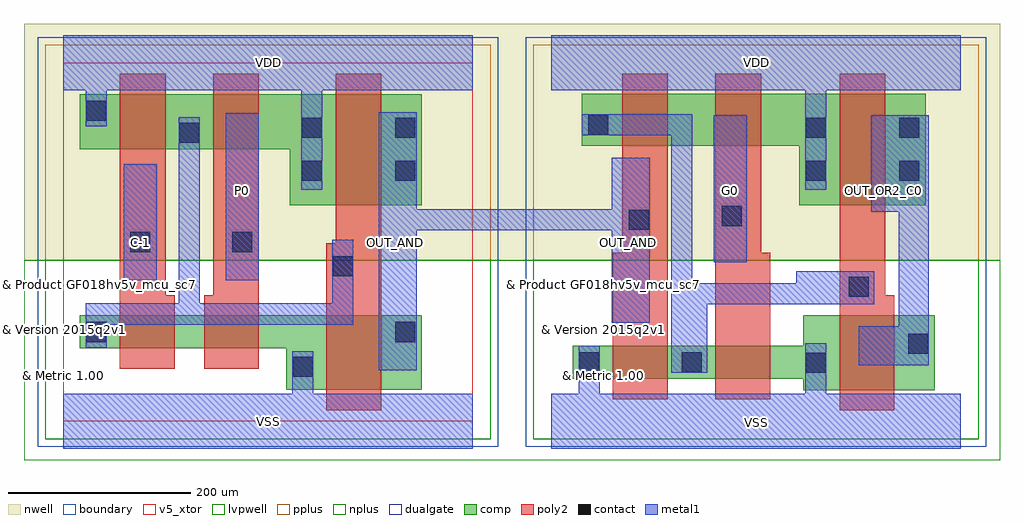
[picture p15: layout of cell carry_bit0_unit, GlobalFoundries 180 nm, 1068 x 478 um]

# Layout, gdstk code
import gdstk
lib = gdstk.Library(unit=1e-6, precision=1e-07)
def R(c, l, rs):  # rectangles x0, y0, x1, y1
    for r in rs: c.add(gdstk.rectangle(r[:2], r[2:], *l))
def P(c, l, *ps):  # polygons
    for p in ps: c.add(gdstk.Polygon(p, *l))
boundary = (0, 0)
nwell = (21, 0)
comp = (22, 0)
poly2 = (30, 0)
pplus = (31, 0)
nplus = (32, 0)
contact = (33, 0)
metal1 = (34, 0)
dualgate = (55, 0)
v5_xtor = (112, 1)
lvpwell = (204, 0)

carry_bit0_unit = lib.new_cell('carry_bit0_unit')
R(carry_bit0_unit, boundary, [(0,0,448,392), (0,0,448,392), (0,0,448,392)])
R(carry_bit0_unit, nwell, [(-43,176,491,435), (491,176,1025,435)])
P(carry_bit0_unit, comp, [(244,34.5),(244,79.5),(18,79.5),(18,116),(392,116),(392,34.5)],
  [(248,236),(248,297.5),(18,297.5),(18,357.5),(392,357.5),(392,236)],
  [(805.5,236),(805.5,301.5),(567.5,301.5),(567.5,358),(943.5,358),(943.5,236)],
  [(809.5,34),(809.5,46.5),(557.5,46.5),(557.5,82.5),(809.5,82.5),(809.5,116),(953.5,116),(953.5,34)])
P(carry_bit0_unit, poly2, [(849.5,12),(849.5,380),(899.5,380),(899.5,252.2),(899.5,138),(909.5,138),(909.5,12)],
  [(62,57.5),(62,380),(112,380),(112,138),(122,138),(122,57.5)],
  [(154,57.5),(154,138),(164,138),(164,380),(214,380),(214,57.5)],
  [(288,12),(288,194.5),(298,194.5),(298,380),(348,380),(348,12)],
  [(601.5,24),(601.5,184.5),(611.5,184.5),(611.5,380),(661.5,380),(661.5,24)],
  [(713.5,24),(713.5,380),(763.5,380),(763.5,184.5),(773.5,184.5),(773.5,24)])
R(carry_bit0_unit, pplus, [(-20,176,468,412), (514,176,1002,412)])
R(carry_bit0_unit, nplus, [(-20,-20,468,176), (514,-20,1002,176)])
R(carry_bit0_unit, contact, [(251,48.5,273,70.5), (812.5,53,834.5,75), (564.5,53.5,586.5,75.5), (676.5,53.5,698.5,75.5), (924.5,73.5,946.5,95.5), (25,86.5,47,108.5), (363,86.5,385,108.5), (859.5,136,881.5,158), (295,158.5,317,180.5), (73,185,95,207), (185,185,207,207), (618.5,209.5,640.5,231.5), (720.5,213.5,742.5,235.5), (261,263,283,285), (363,263,385,285), (812.5,263,834.5,285), (914.5,263,936.5,285), (127,304.5,149,326.5), (261,310,283,332), (363,310,385,332), (812.5,310,834.5,332), (914.5,310,936.5,332), (574.5,313.5,596.5,335.5), (25,328.5,47,350.5)])
R(carry_bit0_unit, metal1, [(345,55.5,387,338), (600,107.5,642,288), (66,154,102,281), (178,154,214,337), (712,174,748,334.5), (347.3,209,641.4,232.1)])
P(carry_bit0_unit, metal1, [(24.5,80.5),(24.5,129),(126.5,129),(126.5,332.5),(149.5,332.5),(149.5,129),(294.5,129),(294.5,198.5),(317.5,198.5),(317.5,105.5),(47.5,105.5),(47.5,80.5)],
  [(0,-30),(0,30),(250.5,30),(250.5,76.5),(273.5,76.5),(273.5,30),(448,30),(448,-30)],
  [(260.5,253),(260.5,362),(47.5,362),(47.5,322.5),(24.5,322.5),(24.5,362),(0,362),(0,422),(448,422),(448,362),(283.5,362),(283.5,253)],
  [(665,53),(665,313),(567.5,313),(567.5,336),(688,336),(688,151),(802,151),(802,164),(887.5,164),(887.5,128),(704.5,128),(704.5,53)],
  [(870.5,61),(870.5,104),(914,104),(914,229),(884,229),(884,334.5),(947,334.5),(947,61)],
  [(534,-30),(534,30),(564,30),(564,82.5),(587,82.5),(587,30),(812,30),(812,85),(835,85),(835,30),(982,30),(982,-30)],
  [(812,253),(812,362),(534,362),(534,422),(982,422),(982,362),(835,362),(835,253)])
R(carry_bit0_unit, dualgate, [(-28,-28,476,420), (506,-28,1010,420)])
R(carry_bit0_unit, v5_xtor, [(0,0,448,392), (0,0,448,392), (0,0,448,392)])
R(carry_bit0_unit, lvpwell, [(-43,-43,491,176), (491,-43,1025,176)])
carry_bit0_unit.add(gdstk.Label('VDD', (224,392), layer=34, texttype=10))
carry_bit0_unit.add(gdstk.Label('VSS', (224,0), layer=34, texttype=10))
carry_bit0_unit.add(gdstk.Label('OUT_AND', (364,196), layer=34, texttype=10))
carry_bit0_unit.add(gdstk.Label('C-1', (84,196), layer=34, texttype=10))
carry_bit0_unit.add(gdstk.Label('P0', (196,252), layer=34, texttype=10))
carry_bit0_unit.add(gdstk.Label('VDD', (758,392.5), layer=34, texttype=10))
carry_bit0_unit.add(gdstk.Label('VSS', (758,-1), layer=34, texttype=10))
carry_bit0_unit.add(gdstk.Label('OUT_OR2_C0', (898,252), layer=34, texttype=10))
carry_bit0_unit.add(gdstk.Label('OUT_AND', (618,196), layer=34, texttype=10))
carry_bit0_unit.add(gdstk.Label('G0', (730,252), layer=34, texttype=10))
carry_bit0_unit.add(gdstk.Label('& Vendor GLOBALFOUNDRIES', (0,200), layer=63, texttype=63))
carry_bit0_unit.add(gdstk.Label('& Product GF018hv5v_mcu_sc7', (0,150), layer=63, texttype=63))
carry_bit0_unit.add(gdstk.Label('& Version 2015q2v1', (0,100), layer=63, texttype=63))
carry_bit0_unit.add(gdstk.Label('& Metric 1.00', (0,50), layer=63, texttype=63))
carry_bit0_unit.add(gdstk.Label('& Vendor GLOBALFOUNDRIES', (590.6,200), layer=63, texttype=63))
carry_bit0_unit.add(gdstk.Label('& Product GF018hv5v_mcu_sc7', (590.6,150), layer=63, texttype=63))
carry_bit0_unit.add(gdstk.Label('& Version 2015q2v1', (590.6,100), layer=63, texttype=63))
carry_bit0_unit.add(gdstk.Label('& Metric 1.00', (590.6,50), layer=63, texttype=63))

lib.write_gds('carry_bit0_unit.gds')
